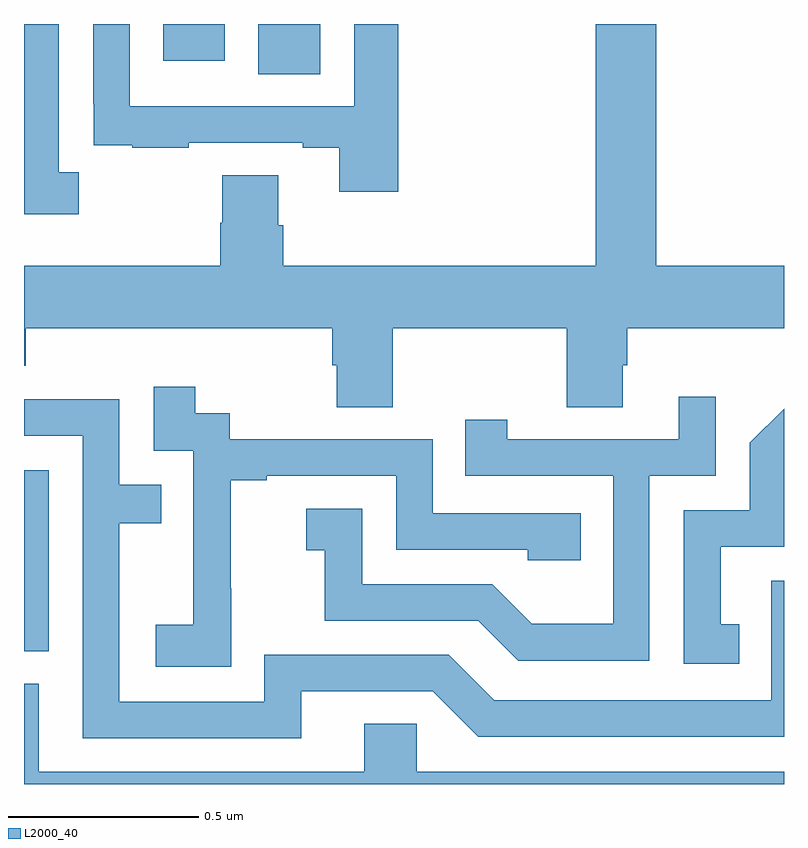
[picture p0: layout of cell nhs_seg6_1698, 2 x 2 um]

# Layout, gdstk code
import gdstk
lib = gdstk.Library(unit=1e-6, precision=1e-09)
def R(c, l, rs):  # rectangles x0, y0, x1, y1
    for r in rs: c.add(gdstk.rectangle(r[:2], r[2:], *l))
def P(c, l, *ps):  # polygons
    for p in ps: c.add(gdstk.Polygon(p, *l))
L2000_40 = (2000, 40)

nhs_seg6_1698 = lib.new_cell('nhs_seg6_1698')
R(nhs_seg6_1698, L2000_40, [(133,915.849,133.065,916.326), (133.616,917.368,133.78,917.5), (133.367,917.403,133.528,917.5)])
P(nhs_seg6_1698, L2000_40, [(133.971,916.7),(134.428,916.7),(134.428,916.492),(134.575,916.492),(134.575,916.602),(134.588,916.602),(134.588,916.7),(135,916.7),(135,916.864),(134.664,916.864),(134.664,917.5),(134.504,917.5),(134.504,916.864),(133.682,916.864),(133.682,916.97),(133.669,916.97),(133.669,917.102),(133.522,917.102),(133.522,916.977),(133.517,916.977),(133.517,916.864),(133,916.864),(133,916.601),(133.004,916.601),(133.004,916.7),(133.811,916.7),(133.811,916.602),(133.823,916.602),(133.823,916.492),(133.971,916.492)],
  [(133.144,917.11),(133.092,917.11),(133.092,917.5),(133,917.5),(133,917),(133.144,917)],
  [(133.985,917.5),(133.869,917.5),(133.869,917.283),(133.278,917.283),(133.278,917.5),(133.182,917.5),(133.182,917.29),(133.183,917.29),(133.183,917.181),(133.285,917.181),(133.285,917.175),(133.433,917.175),(133.433,917.187),(133.733,917.187),(133.733,917.175),(133.829,917.175),(133.829,917.058),(133.985,917.058)],
  [(133.545,916.015),(133.544,916.015),(133.544,916.299),(133.639,916.299),(133.639,916.311),(133.98,916.311),(133.98,916.116),(134.325,916.116),(134.325,916.089),(134.465,916.089),(134.465,916.212),(134.076,916.212),(134.076,916.407),(133.542,916.407),(133.542,916.476),(133.45,916.476),(133.45,916.546),(133.341,916.546),(133.341,916.377),(133.446,916.377),(133.446,916.148),(133.445,916.148),(133.445,915.919),(133.347,915.919),(133.347,915.809),(133.545,915.809)],
  [(134.646,916.311),(134.82,916.311),(134.82,916.519),(134.723,916.519),(134.723,916.407),(134.272,916.407),(134.272,916.459),(134.161,916.459),(134.161,916.311),(134.55,916.311),(134.55,915.922),(134.336,915.922),(134.232,916.026),(133.89,916.026),(133.89,916.225),(133.743,916.225),(133.743,916.115),(133.792,916.115),(133.792,915.93),(134.195,915.93),(134.3,915.825),(134.646,915.825)],
  [(133.729,915.744),(134.076,915.744),(134.196,915.624),(135,915.624),(135,916.035),(134.967,916.035),(134.967,915.72),(134.238,915.72),(134.118,915.84),(133.632,915.84),(133.632,915.717),(133.251,915.717),(133.251,916.186),(133.361,916.186),(133.361,916.287),(133.251,916.287),(133.251,916.512),(133,916.512),(133,916.416),(133.155,916.416),(133.155,915.621),(133.729,915.621)],
  [(134.882,915.921),(134.833,915.921),(134.833,916.125),(135,916.125),(135,916.488),(134.91,916.398),(134.91,916.221),(134.736,916.221),(134.736,915.816),(134.882,915.816)],
  [(135,915.532),(134.034,915.532),(134.034,915.659),(133.895,915.659),(133.895,915.532),(133.039,915.532),(133.039,915.764),(133,915.764),(133,915.5),(135,915.5)])

lib.write_gds('nhs_seg6_1698.gds')
